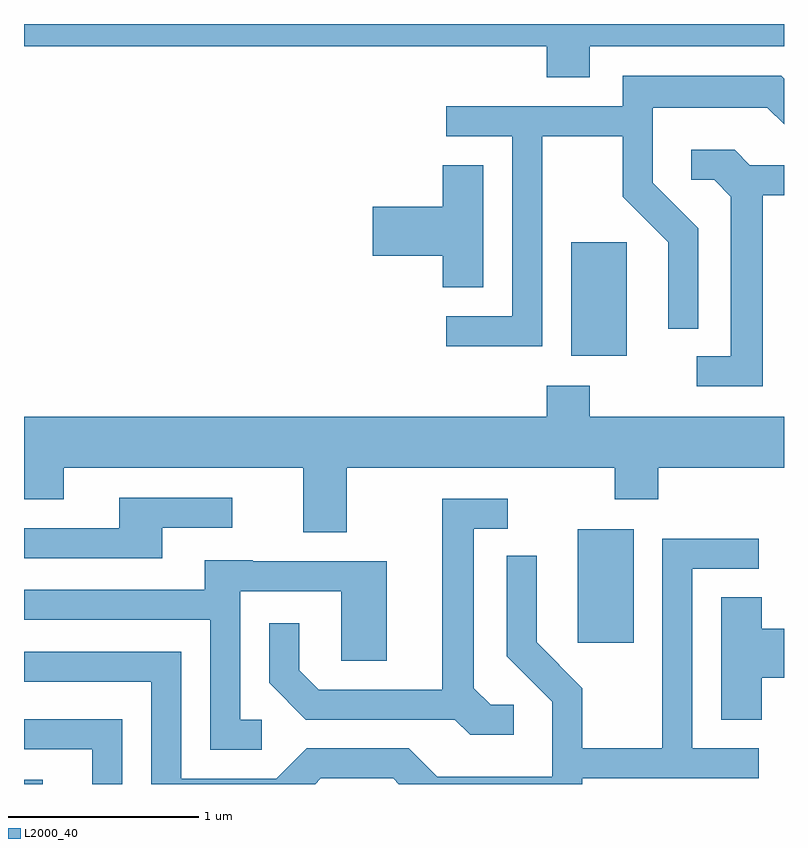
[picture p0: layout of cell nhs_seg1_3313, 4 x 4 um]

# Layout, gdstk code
import gdstk
lib = gdstk.Library(unit=1e-6, precision=1e-09)
def R(c, l, rs):  # rectangles x0, y0, x1, y1
    for r in rs: c.add(gdstk.rectangle(r[:2], r[2:], *l))
def P(c, l, *ps):  # polygons
    for p in ps: c.add(gdstk.Polygon(p, *l))
L2000_40 = (2000, 40)

nhs_seg1_3313 = lib.new_cell('nhs_seg1_3313')
R(nhs_seg1_3313, L2000_40, [(285.611,875.712,285.709,875.734), (288.526,876.456,288.819,877.054), (288.491,877.966,288.784,878.564)])
P(nhs_seg1_3313, L2000_40, [(288.589,879.596),(289.611,879.596),(289.611,879.712),(285.611,879.712),(285.611,879.596),(288.361,879.596),(288.361,879.431),(288.589,879.431)],
  [(288.339,879.121),(288.761,879.121),(288.761,878.804),(289.001,878.564),(289.001,878.108),(289.159,878.108),(289.159,878.637),(288.919,878.877),(288.919,879.271),(289.524,879.271),(289.611,879.184),(289.611,879.425),(289.597,879.439),(288.761,879.439),(288.761,879.279),(287.833,879.279),(287.833,879.121),(288.181,879.121),(288.181,878.174),(287.833,878.174),(287.833,878.016),(288.339,878.016)],
  [(289.499,878.811),(289.611,878.811),(289.611,878.969),(289.432,878.969),(289.352,879.049),(289.123,879.049),(289.123,878.891),(289.244,878.891),(289.331,878.804),(289.331,877.964),(289.153,877.964),(289.153,877.806),(289.499,877.806)],
  [(288.029,878.969),(287.816,878.969),(287.816,878.749),(287.446,878.749),(287.446,878.491),(287.816,878.491),(287.816,878.326),(288.029,878.326)],
  [(287.309,877.376),(288.721,877.376),(288.721,877.211),(288.949,877.211),(288.949,877.376),(289.611,877.376),(289.611,877.644),(288.589,877.644),(288.589,877.809),(288.361,877.809),(288.361,877.644),(285.611,877.644),(285.611,877.211),(285.819,877.211),(285.819,877.376),(287.081,877.376),(287.081,877.036),(287.309,877.036)],
  [(286.339,877.061),(286.708,877.061),(286.708,877.219),(286.111,877.219),(286.111,877.059),(285.611,877.059),(285.611,876.901),(286.339,876.901)],
  [(288.188,876.129),(288.067,876.129),(287.979,876.217),(287.979,877.056),(288.158,877.056),(288.158,877.214),(287.811,877.214),(287.811,876.209),(287.162,876.209),(287.059,876.312),(287.059,876.558),(286.901,876.558),(286.901,876.244),(287.094,876.051),(287.879,876.051),(287.959,875.971),(288.188,875.971)],
  [(287.172,875.741),(287.554,875.741),(287.583,875.712),(288.549,875.712),(288.549,875.741),(289.478,875.741),(289.478,875.899),(289.129,875.899),(289.129,876.846),(289.478,876.846),(289.478,877.004),(288.971,877.004),(288.971,875.899),(288.549,875.899),(288.549,876.217),(288.309,876.457),(288.309,876.913),(288.151,876.913),(288.151,876.384),(288.391,876.144),(288.391,875.749),(287.787,875.749),(287.637,875.899),(287.099,875.899),(286.939,875.739),(286.439,875.739),(286.439,876.409),(285.611,876.409),(285.611,876.251),(286.281,876.251),(286.281,875.712),(287.143,875.712)],
  [(286.863,876.049),(286.749,876.049),(286.749,876.726),(287.281,876.726),(287.281,876.361),(287.519,876.361),(287.519,876.884),(286.815,876.884),(286.815,876.889),(286.561,876.889),(286.561,876.734),(285.611,876.734),(285.611,876.576),(286.591,876.576),(286.591,875.891),(286.863,875.891)],
  [(289.494,876.271),(289.611,876.271),(289.611,876.529),(289.494,876.529),(289.494,876.694),(289.281,876.694),(289.281,876.051),(289.494,876.051)],
  [(286.129,876.054),(285.611,876.054),(285.611,875.896),(285.971,875.896),(285.971,875.712),(286.129,875.712)])

lib.write_gds('nhs_seg1_3313.gds')
